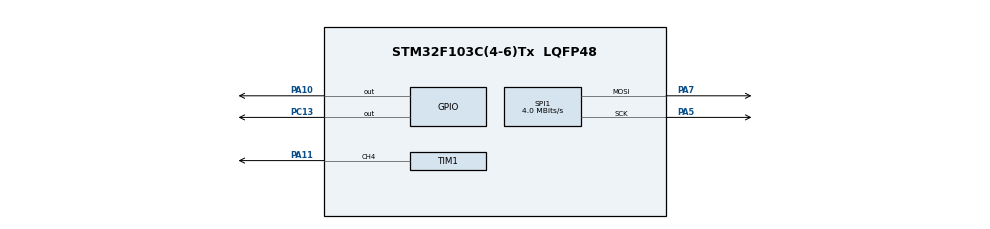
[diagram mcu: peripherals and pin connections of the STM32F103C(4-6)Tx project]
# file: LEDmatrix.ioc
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Mcu.Family=STM32F1
Mcu.Name=STM32F103C(4-6)Tx
Mcu.Package=LQFP48
NVIC.PriorityGroup=NVIC_PRIORITYGROUP_4
NVIC.SPI1_IRQn=true\:0\:0\:false\:false\:true\:true\:true\:true
PA10.Signal=GPIO_Output
PA11.Signal=S_TIM1_CH4
PA13.Mode=Serial_Wire
PA13.Signal=SYS_JTMS-SWDIO
PA14.Mode=Serial_Wire
PA14.Signal=SYS_JTCK-SWCLK
PA5.Mode=TX_Only_Simplex_Unidirect_Master
PA5.Signal=SPI1_SCK
PA7.Mode=TX_Only_Simplex_Unidirect_Master
PA7.Signal=SPI1_MOSI
PC13-TAMPER-RTC.Signal=GPIO_Output
ProjectManager.HeapSize=0x200
ProjectManager.StackSize=0x400
ProjectManager.TargetToolchain=STM32CubeIDE
RCC.APB1Freq_Value=8000000
RCC.APB2Freq_Value=8000000
SH.S_TIM1_CH4.0=TIM1_CH4,PWM Generation4 CH4
SPI1.CalculateBaudRate=4.0 MBits/s
SPI1.Direction=SPI_DIRECTION_2LINES
SPI1.Mode=SPI_MODE_MASTER
SPI1.VirtualType=VM_MASTER
TIM1.Channel-PWM\ Generation4\ CH4=TIM_CHANNEL_4
board=custom

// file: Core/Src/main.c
/* USER CODE BEGIN Header */
/**
  ******************************************************************************
  * @file           : main.c
  * @brief          : Main program body
  ******************************************************************************
  * @attention
  *
  * Copyright (c) 2026 STMicroelectronics.
  * All rights reserved.
  *
  * This software is licensed under terms that can be found in the LICENSE file
  * in the root directory of this software component.
  * If no LICENSE file comes with this software, it is provided AS-IS.
  *
  ******************************************************************************
  */
/* USER CODE END Header */
#include "main.h"

/* USER CODE BEGIN PTD */
#define LED GPIO_PIN_13
#define RCLK GPIO_PIN_10

/* USER CODE END PTD */

SPI_HandleTypeDef hspi1;

TIM_HandleTypeDef htim1;

void SystemClock_Config(void);
static void MX_GPIO_Init(void);
static void MX_SPI1_Init(void);
static void MX_TIM1_Init(void);

int main(void)
{

  /* USER CODE BEGIN 1 */
	uint8_t SerialData[]={0b10000000, 0b01000000,0b00100000,0b00010000,0b00001000,0b00000100,0b00000010,0b00000001,0b00000010,0b00000100,0b00001000,0b00010000,0b00100000,0b01000000,0b10000000};
	uint8_t SerialDataSize=15;
	uint32_t Speed=20;

  /* USER CODE END 1 */

  /* MCU Configuration--------------------------------------------------------*/

  /* Reset of all peripherals, Initializes the Flash interface and the Systick. */
  HAL_Init();

  /* Configure the system clock */
  SystemClock_Config();

  /* Initialize all configured peripherals */
  MX_GPIO_Init();
  MX_SPI1_Init();
  MX_TIM1_Init();
  /* USER CODE BEGIN 2 */
  HAL_TIM_PWM_Start(&htim1, TIM_CHANNEL_4);

  uint8_t SerialData2=0b11111111;
  uint32_t CH4_DC=0;

  /* USER CODE END 2 */

  /* Infinite loop */
  /* USER CODE BEGIN WHILE */
  while (1)
  {

	  //Knight Rider fénysor
	  TIM1->CCR4=40000;
	  for(int j=0;j<10;j++){
		for(int i=0;i<SerialDataSize;i++){
			  HAL_SPI_Transmit(&hspi1, SerialData+i, 1, 500);
			  HAL_GPIO_WritePin(GPIOA, RCLK,1);
			  HAL_Delay(Speed);
			  HAL_GPIO_WritePin(GPIOA, RCLK,0);
			  HAL_Delay(Speed);
			  }

	  }
	  TIM1->CCR4=0;

	  //PWM működésének tesztelése
	  HAL_SPI_Transmit(&hspi1, &SerialData2, 1, 500);
	    HAL_GPIO_WritePin(GPIOA, RCLK,1);
	    HAL_Delay(Speed);
	    HAL_GPIO_WritePin(GPIOA, RCLK,0);
	    HAL_Delay(Speed);
	  while(CH4_DC<40000){
		  CH4_DC+=20;
		  TIM1->CCR4=CH4_DC;
		  HAL_Delay(1);
	  }
	  while(CH4_DC>0){
		  CH4_DC-=20;
		  TIM1->CCR4=CH4_DC;
		  HAL_Delay(1);
	  }

    /* USER CODE END WHILE */

  }
}

void SystemClock_Config(void)
{
  RCC_OscInitTypeDef RCC_OscInitStruct = {0};
  RCC_ClkInitTypeDef RCC_ClkInitStruct = {0};

  /** Initializes the RCC Oscillators according to the specified parameters
  * in the RCC_OscInitTypeDef structure.
  */
  RCC_OscInitStruct.OscillatorType = RCC_OSCILLATORTYPE_HSI;
  RCC_OscInitStruct.HSIState = RCC_HSI_ON;
  RCC_OscInitStruct.HSICalibrationValue = RCC_HSICALIBRATION_DEFAULT;
  RCC_OscInitStruct.PLL.PLLState = RCC_PLL_NONE;
  if (HAL_RCC_OscConfig(&RCC_OscInitStruct) != HAL_OK)
  {
    Error_Handler();
  }

  /** Initializes the CPU, AHB and APB buses clocks
  */
  RCC_ClkInitStruct.ClockType = RCC_CLOCKTYPE_HCLK|RCC_CLOCKTYPE_SYSCLK
                              |RCC_CLOCKTYPE_PCLK1|RCC_CLOCKTYPE_PCLK2;
  RCC_ClkInitStruct.SYSCLKSource = RCC_SYSCLKSOURCE_HSI;
  RCC_ClkInitStruct.AHBCLKDivider = RCC_SYSCLK_DIV1;
  RCC_ClkInitStruct.APB1CLKDivider = RCC_HCLK_DIV1;
  RCC_ClkInitStruct.APB2CLKDivider = RCC_HCLK_DIV1;

  if (HAL_RCC_ClockConfig(&RCC_ClkInitStruct, FLASH_LATENCY_0) != HAL_OK)
  {
    Error_Handler();
  }
}

static void MX_SPI1_Init(void)
{

  /* SPI1 parameter configuration*/
  hspi1.Instance = SPI1;
  hspi1.Init.Mode = SPI_MODE_MASTER;
  hspi1.Init.Direction = SPI_DIRECTION_2LINES;
  hspi1.Init.DataSize = SPI_DATASIZE_8BIT;
  hspi1.Init.CLKPolarity = SPI_POLARITY_LOW;
  hspi1.Init.CLKPhase = SPI_PHASE_1EDGE;
  hspi1.Init.NSS = SPI_NSS_SOFT;
  hspi1.Init.BaudRatePrescaler = SPI_BAUDRATEPRESCALER_2;
  hspi1.Init.FirstBit = SPI_FIRSTBIT_MSB;
  hspi1.Init.TIMode = SPI_TIMODE_DISABLE;
  hspi1.Init.CRCCalculation = SPI_CRCCALCULATION_DISABLE;
  hspi1.Init.CRCPolynomial = 10;
  if (HAL_SPI_Init(&hspi1) != HAL_OK)
  {
    Error_Handler();
  }

}

static void MX_TIM1_Init(void)
{

  TIM_MasterConfigTypeDef sMasterConfig = {0};
  TIM_OC_InitTypeDef sConfigOC = {0};
  TIM_BreakDeadTimeConfigTypeDef sBreakDeadTimeConfig = {0};

  htim1.Instance = TIM1;
  htim1.Init.Prescaler = 0;
  htim1.Init.CounterMode = TIM_COUNTERMODE_UP;
  htim1.Init.Period = 65535;
  htim1.Init.ClockDivision = TIM_CLOCKDIVISION_DIV1;
  htim1.Init.RepetitionCounter = 0;
  htim1.Init.AutoReloadPreload = TIM_AUTORELOAD_PRELOAD_DISABLE;
  if (HAL_TIM_PWM_Init(&htim1) != HAL_OK)
  {
    Error_Handler();
  }
  sMasterConfig.MasterOutputTrigger = TIM_TRGO_RESET;
  sMasterConfig.MasterSlaveMode = TIM_MASTERSLAVEMODE_DISABLE;
  if (HAL_TIMEx_MasterConfigSynchronization(&htim1, &sMasterConfig) != HAL_OK)
  {
    Error_Handler();
  }
  sConfigOC.OCMode = TIM_OCMODE_PWM1;
  sConfigOC.Pulse = 0;
  sConfigOC.OCPolarity = TIM_OCPOLARITY_HIGH;
  sConfigOC.OCFastMode = TIM_OCFAST_DISABLE;
  sConfigOC.OCIdleState = TIM_OCIDLESTATE_RESET;
  sConfigOC.OCNIdleState = TIM_OCNIDLESTATE_RESET;
  if (HAL_TIM_PWM_ConfigChannel(&htim1, &sConfigOC, TIM_CHANNEL_4) != HAL_OK)
  {
    Error_Handler();
  }
  sBreakDeadTimeConfig.OffStateRunMode = TIM_OSSR_DISABLE;
  sBreakDeadTimeConfig.OffStateIDLEMode = TIM_OSSI_DISABLE;
  sBreakDeadTimeConfig.LockLevel = TIM_LOCKLEVEL_OFF;
  sBreakDeadTimeConfig.DeadTime = 0;
  sBreakDeadTimeConfig.BreakState = TIM_BREAK_DISABLE;
  sBreakDeadTimeConfig.BreakPolarity = TIM_BREAKPOLARITY_HIGH;
  sBreakDeadTimeConfig.AutomaticOutput = TIM_AUTOMATICOUTPUT_DISABLE;
  if (HAL_TIMEx_ConfigBreakDeadTime(&htim1, &sBreakDeadTimeConfig) != HAL_OK)
  {
    Error_Handler();
  }
  HAL_TIM_MspPostInit(&htim1);

}

static void MX_GPIO_Init(void)
{
  GPIO_InitTypeDef GPIO_InitStruct = {0};

  /* GPIO Ports Clock Enable */
  __HAL_RCC_GPIOC_CLK_ENABLE();
  __HAL_RCC_GPIOA_CLK_ENABLE();

  /*Configure GPIO pin Output Level */
  HAL_GPIO_WritePin(GPIOC, GPIO_PIN_13, GPIO_PIN_RESET);

  /*Configure GPIO pin Output Level */
  HAL_GPIO_WritePin(GPIOA, GPIO_PIN_10, GPIO_PIN_RESET);

  /*Configure GPIO pin : PC13 */
  GPIO_InitStruct.Pin = GPIO_PIN_13;
  GPIO_InitStruct.Mode = GPIO_MODE_OUTPUT_PP;
  GPIO_InitStruct.Pull = GPIO_NOPULL;
  GPIO_InitStruct.Speed = GPIO_SPEED_FREQ_LOW;
  HAL_GPIO_Init(GPIOC, &GPIO_InitStruct);

  /*Configure GPIO pin : PA10 */
  GPIO_InitStruct.Pin = GPIO_PIN_10;
  GPIO_InitStruct.Mode = GPIO_MODE_OUTPUT_PP;
  GPIO_InitStruct.Pull = GPIO_NOPULL;
  GPIO_InitStruct.Speed = GPIO_SPEED_FREQ_LOW;
  HAL_GPIO_Init(GPIOA, &GPIO_InitStruct);

}

void Error_Handler(void)
{
  __disable_irq();
  while (1)
  {
  }
}
